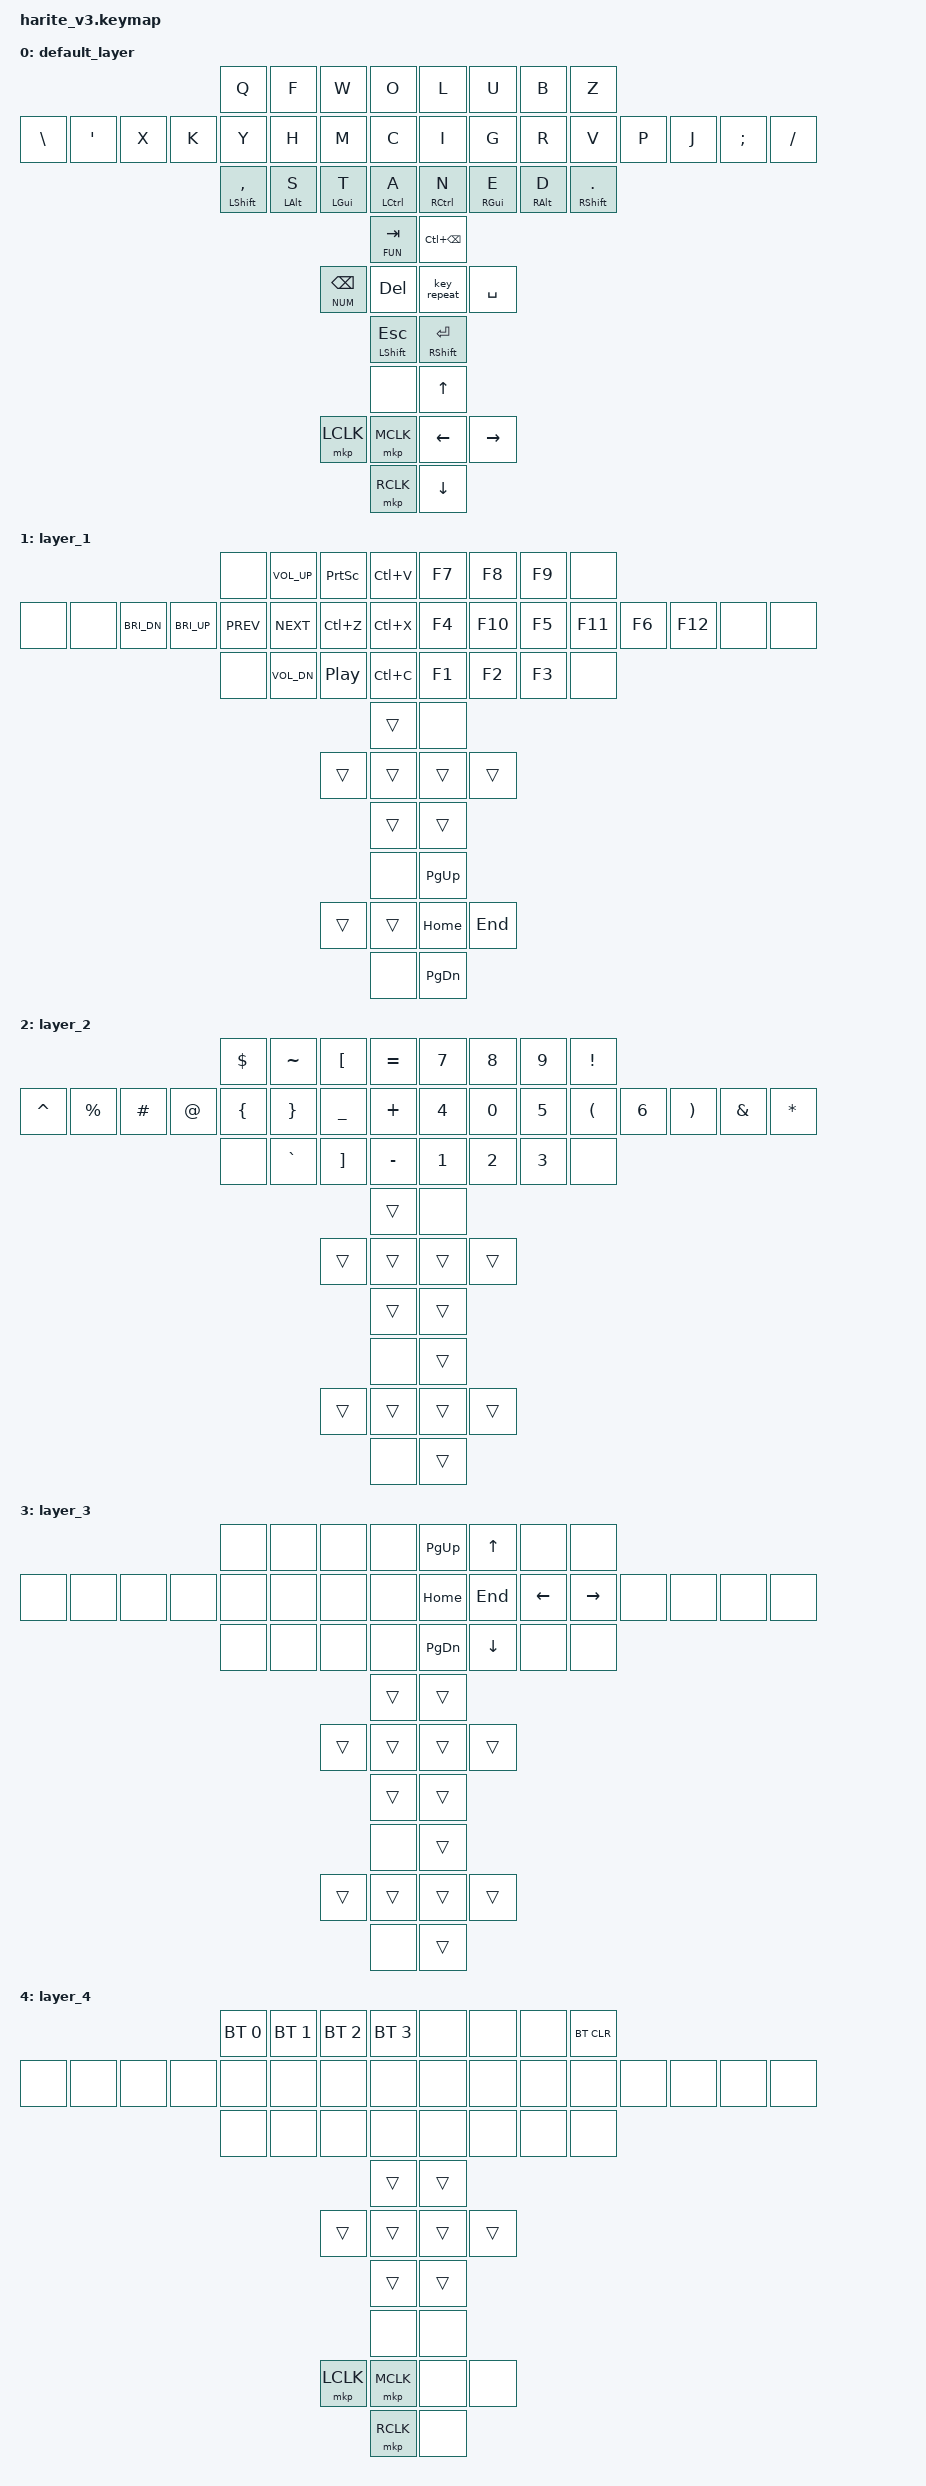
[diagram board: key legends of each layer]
#include <behaviors.dtsi>
#include <dt-bindings/zmk/keys.h>
#include <dt-bindings/zmk/bt.h>
#include <dt-bindings/zmk/mouse.h>

#define DEFAULT 0
#define FUN 1
#define NUM 2
#define NAV 3
#define MOUSE 4

/ {
    behaviors {
        /* Home row mods - balanced flavor for better typing */
        hm: homerow_mods {
            compatible = "zmk,behavior-hold-tap";
            #binding-cells = <2>;
            tapping-term-ms = <200>;
            quick-tap-ms = <150>;
            flavor = "balanced";
            bindings = <&kp>, <&kp>;
        };

        /* Layer tap for thumb keys */
        lt: layer_tap {
            compatible = "zmk,behavior-hold-tap";
            #binding-cells = <2>;
            tapping-term-ms = <200>;
            quick-tap-ms = <150>;
            flavor = "balanced";
            bindings = <&mo>, <&kp>;
        };
    };

    combos {
      compatible = "zmk,combos";
      unlock_left {
        timeout-ms = <100>;
        key-positions = <0 1 2 3>;
        bindings = <&studio_unlock>;
        layers = <0>;
      };
      unlock_right {
        timeout-ms = <100>;
        key-positions = <4 5 6 7>;
        bindings = <&studio_unlock>;
        layers = <0>;
      };
    };

    keymap {
        compatible = "zmk,keymap";

        /* Layer 0: Default - Stained Alpha Layout with Home Row Mods
         *
         * LEFT HAND                                RIGHT HAND
         * Pinky    Ring     Middle   Index         Index    Middle   Ring     Pinky
         *
         *   Q        F        W        O             L        U        B        Z
         * \   '    X   K    Y   H    M   C         I   G    R   V    P   J    ;   /
         *   ,        S        T        A             N        E        D        .
         * (Shft)   (Alt)    (Gui)   (Ctrl)        (Ctrl)   (Gui)    (Alt)   (Shft)
         */
        default_layer {
            bindings = <
                      &kp Q              &kp F              &kp W              &kp O               &kp L              &kp U              &kp B              &kp Z
                &kp BSLH    &kp SQT  &kp X       &kp K  &kp Y       &kp H  &kp M       &kp C   &kp I       &kp G  &kp R       &kp V  &kp P       &kp J  &kp SEMI    &kp FSLH
                      &hm LSHFT COMMA    &hm LALT S         &hm LGUI T         &hm LCTRL A         &hm RCTRL N        &hm RGUI E         &hm RALT D         &hm RSHFT DOT

                                                                               &lt FUN TAB         &kp LC(BSPC)
                                                                         &lt NUM BSPC  &kp DEL   &key_repeat  &kp SPACE
                                                                               &mt LSHFT ESC       &mt RSHFT RET

                                                                               &none               &kp UP
                                                                         &mkp LCLK     &mkp MCLK   &kp LEFT    &kp RIGHT
                                                                               &mkp RCLK           &kp DOWN
            >;
        };

        /* Layer 1: Function/Media - Activated by holding Tab
         *
         * LEFT: Vol+, Bri-, Bri+, Vol-, Print, Prev, Next, Play, Paste, Undo, Cut, Copy
         * RIGHT: F7-F9 (top), F4-F6 (left), F10-F12 (right), F1-F3 (bottom)
         */
        layer_1 {
            bindings = <
                      &none              &kp C_VOL_UP       &kp PSCRN          &kp LC(V)           &kp F7             &kp F8             &kp F9             &none
                &none       &none  &kp C_BRI_DN  &kp C_BRI_UP  &kp C_PREV  &kp C_NEXT  &kp LC(Z)  &kp LC(X)   &kp F4      &kp F10  &kp F5      &kp F11  &kp F6      &kp F12  &none       &none
                      &none              &kp C_VOL_DN       &kp C_PP           &kp LC(C)           &kp F1             &kp F2             &kp F3             &none

                                                                               &trans              &none
                                                                         &trans      &trans   &trans      &trans
                                                                               &trans              &trans

                                                                               &none               &kp PG_UP
                                                                         &trans      &trans   &kp HOME    &kp END
                                                                               &none               &kp PG_DN
            >;
        };

        /* Layer 2: Numbers/Symbols - Activated by holding Bspc
         *
         * LEFT: $ ^ % ~ # @ [ { } ] = _ + -
         * RIGHT: 7 8 9 (top), 4 5 6 (left), 0 ( ) (right), 1 2 3 (bottom), ! & *
         */
        layer_2 {
            bindings = <
                      &kp DLLR           &kp TILDE          &kp LBKT           &kp EQUAL           &kp N7             &kp N8             &kp N9             &kp EXCL
                &kp CARET   &kp PRCNT  &kp HASH    &kp AT  &kp LBRC    &kp RBRC  &kp UNDER   &kp PLUS   &kp N4      &kp N0  &kp N5      &kp LPAR  &kp N6      &kp RPAR  &kp AMPS    &kp ASTRK
                      &none              &kp GRAVE          &kp RBKT           &kp MINUS           &kp N1             &kp N2             &kp N3             &none

                                                                               &trans              &none
                                                                         &trans      &trans   &trans      &trans
                                                                               &trans              &trans

                                                                               &none               &trans
                                                                         &trans      &trans   &trans      &trans
                                                                               &none               &trans
            >;
        };

        /* Layer 3: Navigation */
        layer_3 {
            bindings = <
                      &none              &none              &none              &none               &kp PG_UP          &kp UP             &none              &none
                &none       &none  &none       &none  &none       &none  &none       &none   &kp HOME    &kp END  &kp LEFT    &kp RIGHT  &none       &none  &none       &none
                      &none              &none              &none              &none               &kp PG_DN          &kp DOWN           &none              &none

                                                                               &trans              &trans
                                                                         &trans      &trans   &trans      &trans
                                                                               &trans              &trans

                                                                               &none               &trans
                                                                         &trans      &trans   &trans      &trans
                                                                               &none               &trans
            >;
        };

        /* Layer 4: Mouse/Bluetooth */
        layer_4 {
            bindings = <
                      &bt BT_SEL 0       &bt BT_SEL 1       &bt BT_SEL 2       &bt BT_SEL 3        &none              &none              &none              &bt BT_CLR
                &none       &none  &none       &none  &none       &none  &none       &none   &none       &none  &none       &none  &none       &none  &none       &none
                      &none              &none              &none              &none               &none              &none              &none              &none

                                                                               &trans              &trans
                                                                         &trans      &trans   &trans      &trans
                                                                               &trans              &trans

                                                                               &none               &none
                                                                         &mkp LCLK   &mkp MCLK   &none       &none
                                                                               &mkp RCLK           &none
            >;
        };
    };

    /* PMW3310 */
    /* trackball_listener { */
    /*   compatible = "zmk,input-listener"; */
    /*   device = <&trackball>; */
    /* }; */
    /* Thumbstick */
    /* anin0: analog_input_0 { */
    /*   compatible = "zmk,analog-input"; */
    /*   status = "disabled"; */
    /*   sampling-hz = <100>; */
    /*   x-ch { */
    /*     io-channels = <&adc 2>; */
    /*     mv-mid = <1667>; */
    /*     mv-min-max = <3738>; */
    /*     mv-deadzone = <300>; */
    /*     scale-multiplier = <1>; */
    /*     scale-divisor = <1000>; */
    /*     invert; */
    /*     evt-type = <INPUT_EV_REL>; */
    /*     input-code = <INPUT_REL_X>; */
    /*   }; */
    /*   y-ch { */
    /*     io-channels = <&adc 3>; */
    /*     mv-mid = <2055>; */
    /*     mv-min-max = <3718>; */
    /*     mv-deadzone = <300>; */
    /*     scale-multiplier = <1>; */
    /*     scale-divisor = <1000>; */
    /*     evt-type = <INPUT_EV_REL>; */
    /*     input-code = <INPUT_REL_Y>; */
    /*   }; */
    /* }; */
    /* analog_input_listener { */
    /*     status = "okay"; */
    /*     compatible = "zmk,input-listener"; */
    /*     device = <&anin0>; */
    /*     input-processors = <&zip_xy_to_scroll_mapper>; */
    /* }; */
};

/* Cirque */
&spi0 {
    status = "okay";
    glidepoint: glidepoint@0 {
        status = "okay";
    };
};

/* PMW3310 */
/* &spi1 { */
/*     status = "okay"; */
/*     trackball: trackball@0 { */
/*         status = "okay"; */
/*     }; */
/* }; */

/* Thumbstick */
/* &adc { */
/* 	status = "okay"; */
/* }; */
